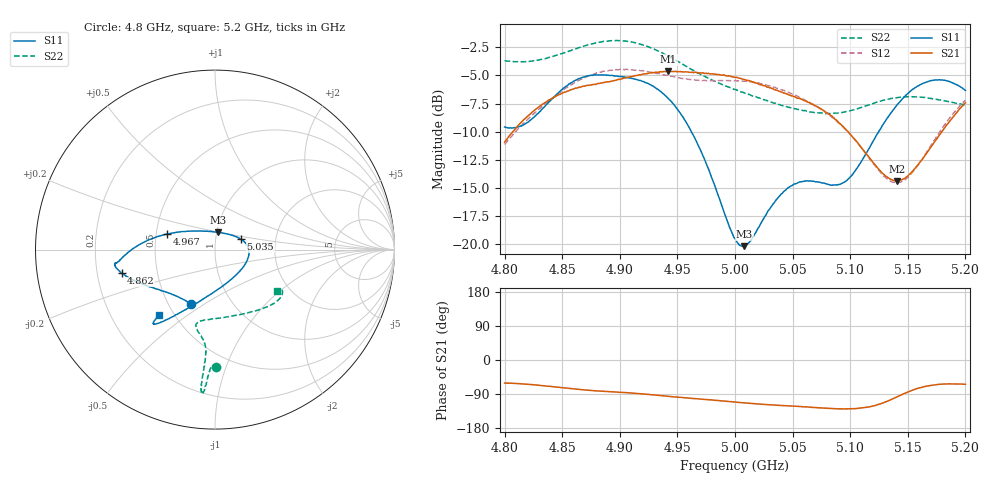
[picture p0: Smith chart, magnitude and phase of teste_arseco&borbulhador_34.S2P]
! Network Analyzer HP8722D
! Hewlett-Packard
! Data name: Linha & Wilkinson
! Saver's name: Rodrigo Anjos
! Comments: Teste da utilização de aquisição
! continua pelo VNA HP8722D
! Time and date: 15/4/2025 15:55
!  Frequency  S11  S21  S12  S22
# HZ  S  MA R 50
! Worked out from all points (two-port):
!   401 points, 4.8 GHz to 5.2 GHz, reference 50 ohm
!   highest |S21| = -4.64 dB at 4.942 GHz (marker M1); lowest = -14.4 dB at 5.141 GHz (marker M2)
!   |S21| within 3 dB of the highest: 4.832 GHz to 5.068 GHz (236.7 MHz wide, 4.78 % of centre); 5.198231 GHz to end of sweep
!   lowest |S11| = -20.2 dB at 5.008 GHz (marker M3), VSWR 1.22, Z = 51 + j9.88 ohm
!   |S11| at or under -10 dB: 4.962 GHz to 5.125 GHz (162.7 MHz wide, 3.23 % of centre)
!   |S22| runs from -8.4 to -1.9 dB; largest |S21 - S12| = 0.88
!   S11 on the Smith chart (normalised r, x): 4.8 GHz: 0.65, -0.44; 4.862 GHz: 0.31, -0.11; 4.967 GHz: 0.57, +0.11; 5.035 GHz: 1.33, +0.16; 5.2 GHz: 0.41, -0.39
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4.8e9  0.3315 -114.0  0.2838 -60.9  0.2771 -175.2  0.6537 -89.6
4.819e9  0.3456 -133.8  0.3663 -63.9  0.3536 -173.5  0.6493 -91.2
4.862e9  0.5366 -165.9  0.4944 -76.9  0.5272 -176.7  0.7388 -93.6
4.867e9  0.5497 -167.9  0.5012 -78.4  0.542 -177.7  0.7547 -93.8
4.899e9  0.5566 -172.3  0.5398 -85.2  0.5961 175.6  0.8018 -95.2
4.934e9  0.4832 -178.2  0.5811 -93.5  0.5738 171.8  0.7192 -95.7
4.942e9  0.4447 178.2  0.586 -95.8  0.5616 171.8  0.6846 -95.5
4.967e9  0.2825 162.2  0.5786 -102.2  0.5348 173.9  0.5785 -95.0
5e9  0.1058 106.1  0.5507 -111.0  0.5341 176.4  0.4869 -99.3
5.008e9  0.09785 78.9  0.5394 -113.2  0.5308 176.2  0.47 -101.2
5.014e9  0.1039 60.0  0.5301 -114.6  0.5267 175.9  0.4584 -102.5
5.035e9  0.1553 22.1  0.4849 -119.2  0.4971 175.0  0.4234 -103.8
5.05e9  0.1827 6.4  0.4553 -121.7  0.4634 174.3  0.4019 -100.4
5.067e9  0.1907 -12.0  0.418 -124.8  0.42 173.9  0.3862 -91.8
5.086e9  0.183 -42.4  0.3632 -128.4  0.3608 173.7  0.3819 -77.5
5.097e9  0.1915 -65.6  0.3199 -129.2  0.3196 174.2  0.3886 -68.4
5.134e9  0.3744 -116.4  0.1956 -106.6  0.1912 -159.4  0.4416 -43.3
5.141e9  0.4179 -120.3  0.191 -96.7  0.1874 -148.4  0.448 -40.2
5.152e9  0.4771 -124.8  0.2052 -81.8  0.2022 -131.2  0.4521 -36.3
5.17e9  0.5329 -128.8  0.2693 -67.0  0.2747 -113.0  0.4444 -32.1
5.184e9  0.5315 -130.2  0.3398 -63.3  0.3506 -107.3  0.4312 -31.1
5.2e9  0.4819 -130.6  0.4244 -64.1  0.4357 -106.2  0.4158 -33.5
